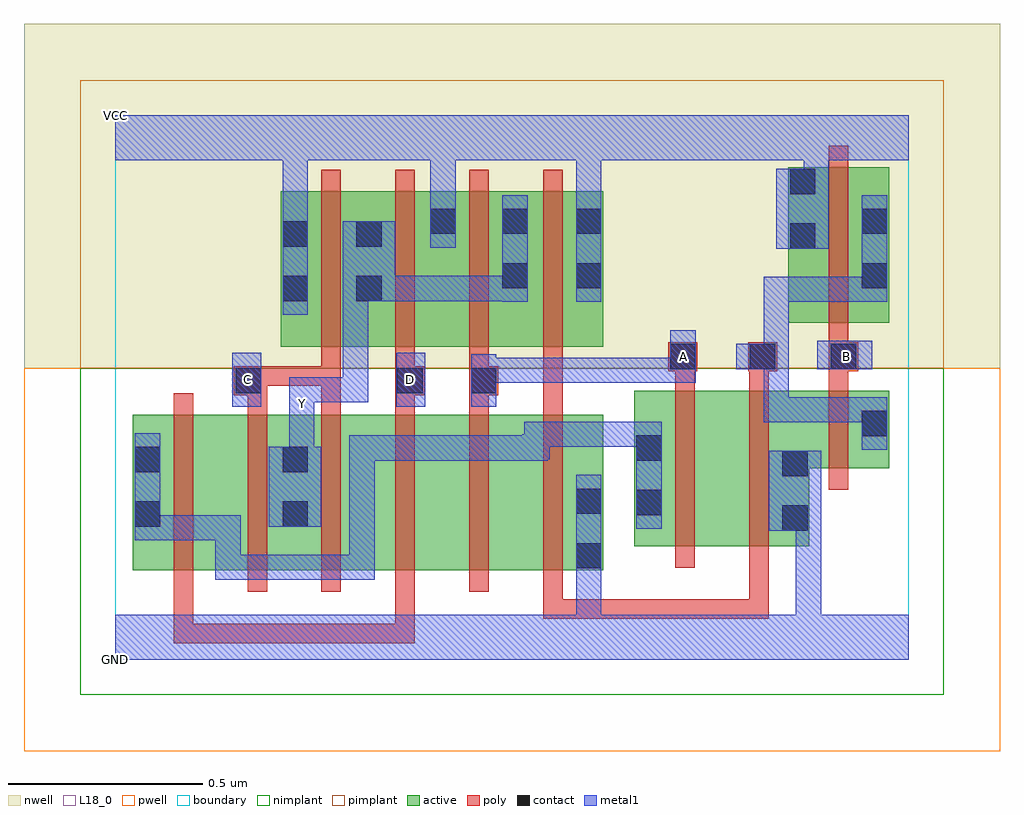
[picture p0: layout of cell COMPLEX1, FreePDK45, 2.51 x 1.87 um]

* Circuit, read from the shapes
.subckt COMPLEX1 A B C D GND VCC Y
M1 n1 D n2 VSUBS nfet w=0.4u l=0.05u
M2 Y C n1 VSUBS nfet w=0.4u l=0.05u
M3 n3 C Y VSUBS nfet w=0.4u l=0.05u
M4 n4 D n3 VSUBS nfet w=0.4u l=0.05u
M5 n5 A n4 VSUBS nfet w=0.4u l=0.05u
M6 GND n6 n5 VSUBS nfet w=0.4u l=0.05u
M7 n7 A n2 VSUBS nfet w=0.4u l=0.05u
M8 GND n6 n7 VSUBS nfet w=0.4u l=0.05u
M9 n6 B GND VSUBS nfet w=0.2u l=0.05u
M10 Y C VCC n8 pfet w=0.4u l=0.05u
M11 VCC D Y n8 pfet w=0.4u l=0.05u
M12 Y A VCC n8 pfet w=0.4u l=0.05u
M13 VCC n6 Y n8 pfet w=0.4u l=0.05u
M14 n6 B VCC n8 pfet w=0.4u l=0.05u
.ends

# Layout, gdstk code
import gdstk
lib = gdstk.Library(unit=1e-6, precision=1e-09)
def R(c, l, rs):  # rectangles x0, y0, x1, y1
    for r in rs: c.add(gdstk.rectangle(r[:2], r[2:], *l))
def A(c, l, x, y, w, h, nx, ny, dx, dy):  # array of equal rectangles
    R(c, l, [(x+i*dx, y+j*dy, x+i*dx+w, y+j*dy+h) for i in range(nx) for j in range(ny)])
active = (1, 0)
pwell = (2, 0)
nwell = (3, 0)
nimplant = (4, 0)
pimplant = (5, 0)
poly = (9, 0)
contact = (10, 0)
metal1 = (11, 0)
L18_0 = (18, 0)
boundary = (235, 0)

complex1 = lib.new_cell('COMPLEX1')
R(complex1, active, [(0.045,0.23,0.27,0.63), (0.045,0.23,0.12,0.63), (0.27,0.23,0.5,0.63), (0.425,0.23,0.65,0.63), (0.65,0.23,0.84,0.63), (0.84,0.23,1.03,0.63), (1.03,0.23,1.255,0.63), (1.18,0.23,1.255,0.63), (1.335,0.292,1.56,0.692), (1.335,0.292,1.41,0.692), (1.56,0.292,1.785,0.692), (1.71,0.292,1.785,0.597), (0.425,0.295,0.5,0.63), (1.71,0.492,1.99,0.692), (1.915,0.495,1.99,0.692), (0.425,0.805,0.5,1.205), (0.425,0.805,0.69,1.205), (0.615,0.805,0.88,1.205), (0.615,0.805,0.69,1.2), (0.805,0.805,1.065,1.205), (0.99,0.805,1.255,1.205), (0.99,0.805,1.065,1.2), (1.18,0.805,1.255,1.205), (0.805,0.847,0.88,1.205), (1.73,0.867,1.805,1.267), (1.73,0.867,1.99,1.267), (1.915,0.867,1.99,1.2)])
R(complex1, pwell, [(-0.235,-0.235,2.275,0.75)])
R(complex1, nwell, [(-0.235,0.75,2.275,1.635)])
R(complex1, nimplant, [(-0.09,-0.09,2.13,0.75)])
R(complex1, pimplant, [(-0.09,0.75,2.13,1.49)])
A(complex1, poly, 0.15, 0.175, 0.05, 0.51, 6, 1, 0.19, 0)
A(complex1, poly, 0.53, 0.705, 0.05, 0.095, 4, 1, 0.19, 0)
A(complex1, poly, 0.53, 0.75, 0.05, 0.51, 4, 1, 0.19, 0)
R(complex1, poly, [(0.15,0.042,0.2,0.092), (0.15,0.042,0.2,0.092), (0.15,0.042,0.2,0.092), (0.15,0.042,0.2,0.225), (0.15,0.042,0.39,0.092), (0.34,0.042,0.39,0.092), (0.34,0.042,0.522,0.092), (0.472,0.042,0.522,0.092), (0.472,0.042,0.522,0.092), (0.472,0.042,0.522,0.092), (0.472,0.042,0.77,0.092), (0.72,0.042,0.77,0.092), (0.72,0.042,0.77,0.092), (0.72,0.042,0.77,0.092), (0.72,0.042,0.77,0.225), (1.1,0.105,1.15,0.155), (1.1,0.105,1.15,0.155), (1.1,0.105,1.15,0.155), (1.1,0.105,1.282,0.155), (1.1,0.105,1.15,0.225), (1.232,0.105,1.282,0.155), (1.232,0.105,1.282,0.155), (1.232,0.105,1.282,0.155), (1.232,0.105,1.68,0.155), (1.63,0.105,1.68,0.287), (1.63,0.105,1.68,0.155), (1.63,0.105,1.68,0.155), (1.63,0.105,1.68,0.155), (1.44,0.237,1.49,0.747), (1.63,0.237,1.68,0.747), (1.835,0.437,1.885,0.747), (0.34,0.635,0.39,0.73), (0.53,0.635,0.58,0.755), (0.72,0.635,0.77,0.73), (0.91,0.635,0.96,0.73), (1.1,0.635,1.15,0.755), (0.305,0.68,0.39,0.755), (0.72,0.68,0.795,0.755), (0.91,0.68,0.985,0.755), (1.44,0.697,1.49,0.792), (1.63,0.697,1.68,0.792), (1.835,0.697,1.885,0.792), (0.34,0.705,0.39,0.755), (0.34,0.705,0.39,0.755), (0.34,0.705,0.58,0.755), (0.53,0.705,0.58,0.755), (1.1,0.705,1.15,0.755), (1.422,0.742,1.497,0.817), (1.627,0.742,1.702,0.817), (1.835,0.742,1.91,0.817), (1.835,0.767,1.885,0.862), (1.835,0.812,1.885,1.322)])
R(complex1, contact, [(1.185,0.235,1.25,0.3), (1.715,0.332,1.78,0.397), (0.05,0.342,0.115,0.407), (0.43,0.342,0.495,0.407), (1.34,0.372,1.405,0.437), (1.185,0.375,1.25,0.44), (1.715,0.472,1.78,0.537), (0.05,0.482,0.115,0.547), (0.43,0.482,0.495,0.547), (1.34,0.512,1.405,0.577), (1.92,0.575,1.985,0.64), (0.31,0.685,0.375,0.75), (0.725,0.685,0.79,0.75), (0.915,0.685,0.98,0.75), (1.427,0.747,1.492,0.812), (1.632,0.747,1.697,0.812), (1.84,0.747,1.905,0.812), (0.43,0.922,0.495,0.987), (0.62,0.922,0.685,0.987), (0.995,0.955,1.06,1.02), (1.185,0.955,1.25,1.02), (1.92,0.955,1.985,1.02), (1.735,1.057,1.8,1.122), (0.43,1.062,0.495,1.127), (0.62,1.062,0.685,1.127), (0.81,1.095,0.875,1.16), (0.995,1.095,1.06,1.16), (1.185,1.095,1.25,1.16), (1.92,1.095,1.985,1.16), (1.735,1.197,1.8,1.262)])
R(complex1, metal1, [(0,0,2.04,0.115), (1.185,0.05,1.25,0.115), (1.185,0.05,1.25,0.115), (1.185,0.05,1.25,0.265), (1.75,0.05,1.815,0.397), (1.185,0.2,1.25,0.475), (0.257,0.205,0.322,0.27), (0.257,0.205,0.322,0.27), (0.257,0.205,0.322,0.27), (0.257,0.205,0.512,0.27), (0.257,0.205,0.322,0.372), (0.447,0.205,0.512,0.27), (0.447,0.205,0.512,0.27), (0.447,0.205,0.512,0.27), (0.447,0.205,0.667,0.27), (0.602,0.205,0.667,0.27), (0.602,0.205,0.667,0.577), (0.05,0.307,0.115,0.372), (0.05,0.307,0.115,0.372), (0.05,0.307,0.115,0.582), (0.05,0.307,0.322,0.372), (0.257,0.307,0.322,0.372), (1.68,0.332,1.815,0.537), (1.75,0.332,1.815,0.397), (1.75,0.332,1.815,0.397), (1.34,0.337,1.405,0.612), (0.395,0.342,0.53,0.547), (0.447,0.482,0.512,0.657), (0.602,0.512,0.667,0.577), (0.602,0.512,0.667,0.577), (0.602,0.512,0.667,0.577), (0.602,0.512,0.857,0.577), (0.792,0.512,0.857,0.577), (0.792,0.512,0.857,0.577), (0.792,0.512,0.857,0.577), (0.792,0.512,1.112,0.577), (1.047,0.512,1.112,0.58), (1.047,0.515,1.117,0.58), (1.052,0.515,1.117,0.612), (1.92,0.54,1.985,0.675), (1.052,0.547,1.25,0.612), (1.185,0.547,1.25,0.612), (1.185,0.547,1.405,0.612), (0.447,0.592,0.512,0.727), (1.667,0.61,1.732,0.675), (1.667,0.61,1.985,0.675), (1.667,0.61,1.732,0.812), (1.92,0.61,1.985,0.675), (1.92,0.61,1.985,0.675), (0.3,0.65,0.375,0.79), (0.722,0.65,0.797,0.79), (0.915,0.65,0.98,0.785), (0.447,0.662,0.512,0.727), (0.447,0.662,0.512,0.727), (0.447,0.662,0.65,0.727), (0.585,0.662,0.65,0.727), (0.585,0.662,0.65,0.987), (0.915,0.712,0.995,0.777), (0.93,0.712,0.995,0.777), (0.93,0.712,1.25,0.777), (1.185,0.712,1.25,0.777), (1.185,0.712,1.25,0.777), (1.185,0.712,1.25,0.777), (1.185,0.712,1.492,0.777), (1.427,0.712,1.492,0.777), (1.427,0.712,1.492,0.777), (1.427,0.712,1.492,0.847), (1.597,0.747,1.732,0.812), (1.667,0.747,1.732,0.812), (1.667,0.747,1.732,0.812), (1.667,0.747,1.732,0.985), (1.805,0.747,1.947,0.82), (0.43,0.887,0.495,1.162), (0.995,0.92,1.06,1.195), (1.185,0.92,1.25,1.195), (1.667,0.92,1.732,0.985), (1.667,0.92,1.985,0.985), (1.92,0.92,1.985,0.985), (1.92,0.92,1.985,0.985), (1.92,0.92,1.985,1.195), (0.585,0.922,0.72,1.127), (0.655,0.922,0.72,0.987), (0.655,0.922,0.72,0.987), (0.655,0.922,0.857,0.987), (0.792,0.922,0.857,0.987), (0.792,0.922,0.857,0.987), (0.792,0.922,0.857,0.987), (0.792,0.922,1.06,0.987), (1.7,1.057,1.835,1.262), (0.81,1.06,0.875,1.195), (0.43,1.097,0.495,1.35), (0.81,1.13,0.875,1.35), (1.185,1.13,1.25,1.35), (1.77,1.197,1.835,1.35), (0,1.285,2.04,1.4)])
R(complex1, L18_0, [(0,0,2.04,0.115), (1.185,0.05,1.25,0.115), (1.185,0.05,1.25,0.115), (1.185,0.05,1.25,0.265), (1.75,0.05,1.815,0.397), (1.185,0.2,1.25,0.475), (1.68,0.332,1.815,0.537), (1.75,0.332,1.815,0.397), (1.75,0.332,1.815,0.397), (0.395,0.342,0.53,0.547), (0.447,0.482,0.512,0.657), (0.447,0.592,0.512,0.727), (0.447,0.627,0.512,0.692), (0.3,0.65,0.375,0.79), (0.722,0.65,0.797,0.79), (0.915,0.65,0.98,0.785), (0.447,0.662,0.512,0.727), (0.447,0.662,0.512,0.727), (0.447,0.662,0.65,0.727), (0.585,0.662,0.65,0.727), (0.585,0.662,0.65,0.987), (0.307,0.687,0.372,0.752), (0.727,0.687,0.792,0.752), (0.915,0.712,0.995,0.777), (0.93,0.712,0.995,0.777), (0.93,0.712,1.25,0.777), (1.185,0.712,1.25,0.777), (1.185,0.712,1.25,0.777), (1.185,0.712,1.25,0.777), (1.185,0.712,1.492,0.777), (1.427,0.712,1.492,0.847), (1.427,0.712,1.492,0.777), (1.427,0.712,1.492,0.777), (1.427,0.747,1.492,0.812), (1.805,0.747,1.947,0.82), (1.847,0.747,1.912,0.812), (0.43,0.887,0.495,1.162), (0.995,0.92,1.06,1.195), (1.185,0.92,1.25,1.195), (0.585,0.922,0.72,1.127), (0.655,0.922,0.72,0.987), (0.655,0.922,0.72,0.987), (0.655,0.922,0.857,0.987), (0.792,0.922,0.857,0.987), (0.792,0.922,0.857,0.987), (0.792,0.922,0.857,0.987), (0.792,0.922,1.06,0.987), (1.7,1.057,1.835,1.262), (0.81,1.06,0.875,1.195), (0.43,1.097,0.495,1.35), (0.81,1.13,0.875,1.35), (1.185,1.13,1.25,1.35), (1.77,1.197,1.835,1.35), (0,1.285,2.04,1.4)])
R(complex1, boundary, [(0,0,2.04,1.4)])
complex1.add(gdstk.Label('A', (1.46,0.78), layer=11, texttype=0))
complex1.add(gdstk.Label('B', (1.88,0.78), layer=11, texttype=0))
complex1.add(gdstk.Label('C', (0.34,0.72), layer=11, texttype=0))
complex1.add(gdstk.Label('D', (0.76,0.72), layer=11, texttype=0))
complex1.add(gdstk.Label('Y', (0.48,0.66), layer=11, texttype=0))
complex1.add(gdstk.Label('VCC', (0,1.4), layer=11, texttype=0))
complex1.add(gdstk.Label('GND', (0,0), layer=11, texttype=0))

lib.write_gds('COMPLEX1.gds')
